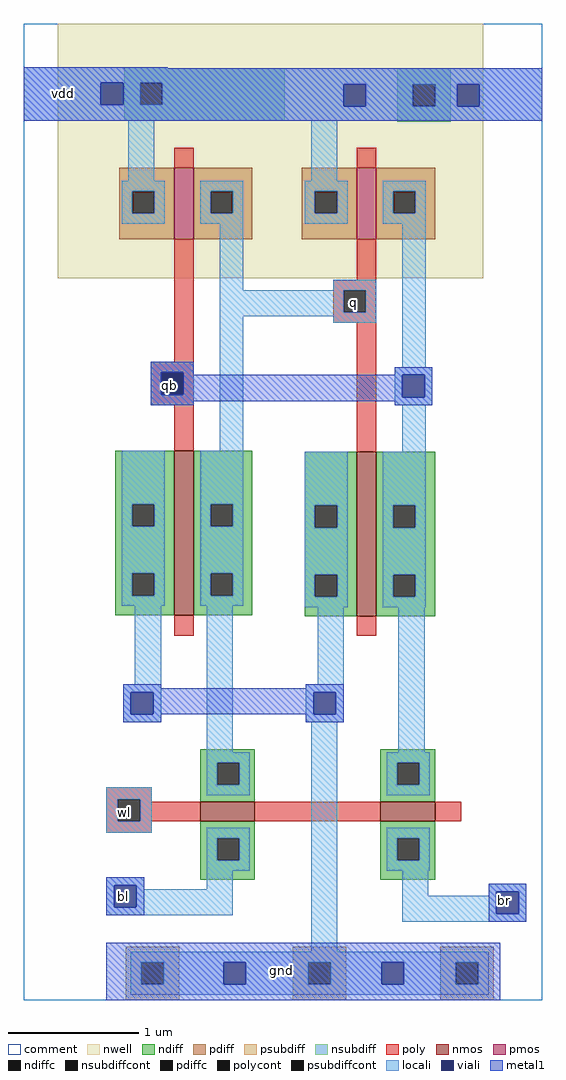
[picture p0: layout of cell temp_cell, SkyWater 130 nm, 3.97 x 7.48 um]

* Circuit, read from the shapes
.subckt temp_cell vdd gnd wl bl br q qb
XM1 q qb gnd gnd sky130_fd_pr__nfet_01v8 w=1.26 l=0.15
XM2 q wl bl gnd sky130_fd_pr__nfet_01v8 w=0.42 l=0.15
XM3 qb q gnd gnd sky130_fd_pr__nfet_01v8 w=1.26 l=0.15
XM4 qb wl br gnd sky130_fd_pr__nfet_01v8 w=0.42 l=0.15
XM5 q qb vdd vdd sky130_fd_pr__pfet_01v8 w=0.55 l=0.15
XM6 qb q vdd vdd sky130_fd_pr__pfet_01v8 w=0.55 l=0.15
.ends

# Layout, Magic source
magic
tech sky130A
<< nwell >>
rect 511 334 837 529
<< nmos >>
rect 600 76 615 202
rect 740 75 755 201
rect 620 -82 662 -67
rect 758 -82 800 -67
<< pmos >>
rect 600 364 615 419
rect 740 364 755 419
<< ndiff >>
rect 555 161 600 202
rect 555 144 568 161
rect 585 144 600 161
rect 555 108 600 144
rect 555 91 568 108
rect 585 91 600 108
rect 555 76 600 91
rect 615 161 660 202
rect 615 144 628 161
rect 645 144 660 161
rect 615 108 660 144
rect 615 91 628 108
rect 645 91 660 108
rect 615 76 660 91
rect 700 160 740 201
rect 700 143 708 160
rect 725 143 740 160
rect 700 107 740 143
rect 700 90 708 107
rect 725 90 740 107
rect 700 75 740 90
rect 755 160 800 201
rect 755 143 768 160
rect 785 143 800 160
rect 755 107 800 143
rect 755 90 768 107
rect 785 90 800 107
rect 755 75 800 90
rect 620 -37 662 -27
rect 620 -54 633 -37
rect 650 -54 662 -37
rect 620 -67 662 -54
rect 758 -37 800 -27
rect 758 -54 771 -37
rect 788 -54 800 -37
rect 758 -67 800 -54
rect 620 -95 662 -82
rect 620 -112 633 -95
rect 650 -112 662 -95
rect 620 -127 662 -112
rect 758 -95 800 -82
rect 758 -112 771 -95
rect 788 -112 800 -95
rect 758 -127 800 -112
<< pdiff >>
rect 558 401 600 419
rect 558 384 568 401
rect 585 384 600 401
rect 558 364 600 384
rect 615 401 660 419
rect 615 384 628 401
rect 645 384 660 401
rect 615 364 660 384
rect 698 401 740 419
rect 698 384 708 401
rect 725 384 740 401
rect 698 364 740 384
rect 755 401 800 419
rect 755 384 768 401
rect 785 384 800 401
rect 755 364 800 384
<< ndiffc >>
rect 568 144 585 161
rect 568 91 585 108
rect 628 144 645 161
rect 628 91 645 108
rect 708 143 725 160
rect 708 90 725 107
rect 768 143 785 160
rect 768 90 785 107
rect 633 -54 650 -37
rect 771 -54 788 -37
rect 633 -112 650 -95
rect 771 -112 788 -95
<< pdiffc >>
rect 568 384 585 401
rect 628 384 645 401
rect 708 384 725 401
rect 768 384 785 401
<< psubdiff >>
rect 563 -190 604 -178
rect 563 -207 575 -190
rect 592 -207 604 -190
rect 563 -219 604 -207
rect 691 -190 732 -178
rect 691 -207 703 -190
rect 720 -207 732 -190
rect 691 -219 732 -207
rect 804 -190 845 -178
rect 804 -207 816 -190
rect 833 -207 845 -190
rect 804 -219 845 -207
<< nsubdiff >>
rect 562 495 595 496
rect 562 484 685 495
rect 562 467 574 484
rect 591 467 685 484
rect 562 455 685 467
rect 771 483 812 495
rect 771 466 783 483
rect 800 466 812 483
rect 771 454 812 466
<< psubdiffcont >>
rect 575 -207 592 -190
rect 703 -207 720 -190
rect 816 -207 833 -190
<< nsubdiffcont >>
rect 574 467 591 484
rect 783 466 800 483
<< poly >>
rect 600 419 615 434
rect 740 419 755 434
rect 600 270 615 364
rect 740 333 755 364
rect 722 325 755 333
rect 722 308 730 325
rect 747 308 755 325
rect 722 300 755 308
rect 582 262 615 270
rect 582 245 590 262
rect 607 245 615 262
rect 582 237 615 245
rect 600 202 615 237
rect 740 201 755 300
rect 600 60 615 76
rect 740 60 755 75
rect 548 -65 583 -56
rect 548 -82 557 -65
rect 574 -67 583 -65
rect 574 -82 620 -67
rect 662 -82 758 -67
rect 800 -82 820 -67
rect 548 -91 583 -82
<< polycont >>
rect 730 308 747 325
rect 590 245 607 262
rect 557 -82 574 -65
<< locali >>
rect 485 495 595 496
rect 485 484 882 495
rect 485 467 544 484
rect 561 467 574 484
rect 591 483 882 484
rect 591 467 730 483
rect 485 466 730 467
rect 747 466 783 483
rect 800 466 817 483
rect 834 466 882 483
rect 485 455 882 466
rect 565 409 585 455
rect 705 409 725 455
rect 560 401 593 409
rect 560 384 568 401
rect 585 384 593 401
rect 560 376 593 384
rect 620 401 653 409
rect 620 384 628 401
rect 645 384 653 401
rect 620 376 653 384
rect 700 401 733 409
rect 700 384 708 401
rect 725 384 733 401
rect 700 376 733 384
rect 760 401 793 409
rect 760 384 768 401
rect 785 384 793 401
rect 760 376 793 384
rect 635 325 653 376
rect 722 325 755 333
rect 635 308 730 325
rect 747 308 755 325
rect 635 305 755 308
rect 582 262 615 270
rect 582 245 590 262
rect 607 245 615 262
rect 582 237 615 245
rect 635 202 653 305
rect 722 300 755 305
rect 775 266 793 376
rect 769 260 798 266
rect 769 243 775 260
rect 792 243 798 260
rect 769 237 798 243
rect 560 161 593 202
rect 560 144 568 161
rect 585 144 593 161
rect 560 108 593 144
rect 560 91 568 108
rect 585 91 593 108
rect 560 83 593 91
rect 620 161 653 202
rect 775 201 793 237
rect 620 144 628 161
rect 645 144 653 161
rect 620 108 653 144
rect 620 91 628 108
rect 645 91 653 108
rect 620 83 653 91
rect 700 160 733 201
rect 700 143 708 160
rect 725 143 733 160
rect 700 107 733 143
rect 700 90 708 107
rect 725 90 733 107
rect 570 23 590 83
rect 561 17 590 23
rect 561 0 567 17
rect 584 0 590 17
rect 561 -6 590 0
rect 625 -29 645 83
rect 700 82 733 90
rect 760 160 793 201
rect 760 143 768 160
rect 785 143 793 160
rect 760 107 793 143
rect 760 90 768 107
rect 785 90 793 107
rect 760 82 793 90
rect 710 23 730 82
rect 701 17 730 23
rect 701 0 707 17
rect 724 0 730 17
rect 701 -6 730 0
rect 625 -37 658 -29
rect 625 -54 633 -37
rect 650 -54 658 -37
rect 548 -65 583 -56
rect 625 -62 658 -54
rect 548 -82 557 -65
rect 574 -82 583 -65
rect 548 -91 583 -82
rect 625 -95 658 -87
rect 625 -112 633 -95
rect 650 -112 658 -95
rect 625 -120 658 -112
rect 548 -131 577 -125
rect 548 -148 554 -131
rect 571 -134 577 -131
rect 625 -134 645 -120
rect 571 -148 645 -134
rect 548 -154 645 -148
rect 705 -182 725 -6
rect 772 -29 792 82
rect 763 -37 796 -29
rect 763 -54 771 -37
rect 788 -54 796 -37
rect 763 -62 796 -54
rect 763 -95 796 -87
rect 763 -112 771 -95
rect 788 -112 796 -95
rect 763 -120 796 -112
rect 775 -139 795 -120
rect 841 -136 870 -130
rect 841 -139 847 -136
rect 775 -153 847 -139
rect 864 -153 870 -136
rect 775 -159 870 -153
rect 567 -190 841 -182
rect 567 -207 575 -190
rect 592 -207 638 -190
rect 655 -207 703 -190
rect 720 -207 759 -190
rect 776 -207 816 -190
rect 833 -207 841 -190
rect 567 -215 841 -207
<< viali >>
rect 544 467 561 484
rect 730 466 747 483
rect 817 466 834 483
rect 590 245 607 262
rect 775 243 792 260
rect 567 0 584 17
rect 707 0 724 17
rect 554 -148 571 -131
rect 847 -153 864 -136
rect 638 -207 655 -190
rect 759 -207 776 -190
<< metal1 >>
rect 485 495 595 496
rect 485 484 882 495
rect 485 467 544 484
rect 561 483 882 484
rect 561 467 730 483
rect 485 466 730 467
rect 747 466 817 483
rect 834 466 882 483
rect 485 455 882 466
rect 582 262 615 270
rect 582 245 590 262
rect 607 260 615 262
rect 769 260 798 266
rect 607 245 775 260
rect 582 243 775 245
rect 792 243 798 260
rect 582 240 798 243
rect 582 237 615 240
rect 769 237 798 240
rect 561 20 590 23
rect 701 20 730 23
rect 561 17 730 20
rect 561 0 567 17
rect 584 0 707 17
rect 724 0 730 17
rect 561 -6 590 0
rect 701 -6 730 0
rect 548 -131 577 -125
rect 548 -148 554 -131
rect 571 -148 577 -131
rect 548 -154 577 -148
rect 841 -136 870 -130
rect 841 -153 847 -136
rect 864 -153 870 -136
rect 841 -159 870 -153
rect 548 -190 850 -175
rect 548 -207 638 -190
rect 655 -207 759 -190
rect 776 -207 850 -190
rect 548 -219 850 -207
<< comment >>
rect 485 -219 882 529
<< labels >>
flabel metal1 s 494 463 537 488 0 FreeSans 240 0 0 0 vdd
port 1 nsew
flabel locali s 733 310 742 321 0 FreeSans 200 0 0 0 q
port 6 nsew
flabel locali s 591 247 602 257 0 FreeSans 200 0 0 0 qb
port 7 nsew
flabel metal1 s 661 -209 704 -184 0 FreeSans 240 0 0 0 gnd
port 2 nsew
flabel locali s 558 -81 566 -69 0 FreeSans 240 0 0 0 wl
port 3 nsew
flabel locali s 557 -146 565 -134 0 FreeSans 240 0 0 0 bl
port 4 nsew
flabel locali s 849 -149 857 -137 0 FreeSans 240 0 0 0 br
port 5 nsew
<< end >>
